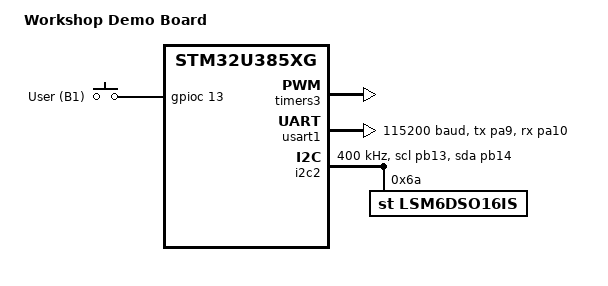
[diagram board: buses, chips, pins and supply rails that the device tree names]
/dts-v1/;
#include <st/u3/stm32u385Xg.dtsi>
#include <st/u3/stm32u385rgtxq-pinctrl.dtsi>
#include <zephyr/dt-bindings/i2c/i2c.h>
#include <zephyr/dt-bindings/sensor/lsm6dso16is.h>

/ {
	model = "Workshop Demo Board";
	compatible = "demo";

	chosen {
		zephyr,console = &usart1;
		zephyr,shell-uart = &usart1;
		zephyr,sram = &sram0;
		zephyr,flash = &flash0;
	};

	/*
	 * Board I/O: onboard user button (B1).
	 *
	 * Pin confirmed as PC13 / GPIO_ACTIVE_HIGH against ST's own upstream
	 * Zephyr board port for this exact SoC/package
	 * (external/zephyr/boards/st/nucleo_u385rg_q/nucleo_u385rg_q.dts,
	 * which this "demo" board's dts is otherwise a trimmed-down copy of),
	 * cross-checked against ST's Nucleo-64 user manual (UM3062,
	 * STM32U3/U5 Nucleo-64 boards MB1841) via web search. Not assumed
	 * from the generic Nucleo-64 PC13 convention alone.
	 */
	gpio_keys {
		compatible = "gpio-keys";

		user_button: button_0 {
			label = "User (B1)";
			gpios = <&gpioc 13 GPIO_ACTIVE_HIGH>;
		};
	};

	aliases {
		accelerometer = &lsm6dso16is;
		sw0 = &user_button;
		buzzer = &pwm1;
	};
};

/*
 * Board I/O: buzzer PWM output, Arduino header D8 / PC7 / TIM3 channel 2
 * (see intent.md and specs/board-io.spec.md).
 *
 * st,prescaler = 95 divides the ~96MHz timer input clock down to a 1MHz
 * counter tick, giving pwm_set()/buzzer_request() a usable audible-range
 * resolution (~15Hz .. 500kHz, ARR 16-bit) without needing a slower clock.
 */
&timers3 {
	st,prescaler = <95>;
	status = "okay";

	pwm1: pwm {
		pinctrl-0 = <&tim3_ch2_pc7>;
		pinctrl-names = "default";
		status = "okay";
	};
};

// MSIS requires LSE clock to be enabled for auto-calibration
&clk_lse {
	status = "okay";
};

// Currently unused, but produces compiler warning if disabled
&clk_msik {
	status = "okay";
};

&clk_msis {
	status = "okay";
	msi-pll-mode;
	msi-range = <0>; /* 96MHz (reset value) */
};

&rcc {
	clocks = <&clk_msis>;
	clock-frequency = <DT_FREQ_M(96)>;
	ahb-prescaler = <1>;
	apb1-prescaler = <1>;
	apb2-prescaler = <1>;
	apb3-prescaler = <1>;
};

&usart1 {
	pinctrl-0 = <&usart1_tx_pa9 &usart1_rx_pa10>;
	pinctrl-names = "default";
	current-speed = <115200>;
	status = "okay";
};

&i2c2 {
	pinctrl-0 = <&i2c2_scl_pb13 &i2c2_sda_pb14>; // Arduino D15 + D14
	pinctrl-names = "default";
	clock-frequency = <I2C_BITRATE_FAST>;
	status = "okay";

	lsm6dso16is: lsm6dso16is@6a {
		compatible = "st,lsm6dso16is";
		reg = <0x6a>;
		accel-range = <LSM6DSO16IS_DT_FS_4G>;
		accel-odr = <LSM6DSO16IS_DT_ODR_104Hz_HP>;
		gyro-range = <LSM6DSO16IS_DT_FS_500DPS>;
		gyro-odr = <LSM6DSO16IS_DT_ODR_104Hz_HP>;
		status = "okay";
	};
};
